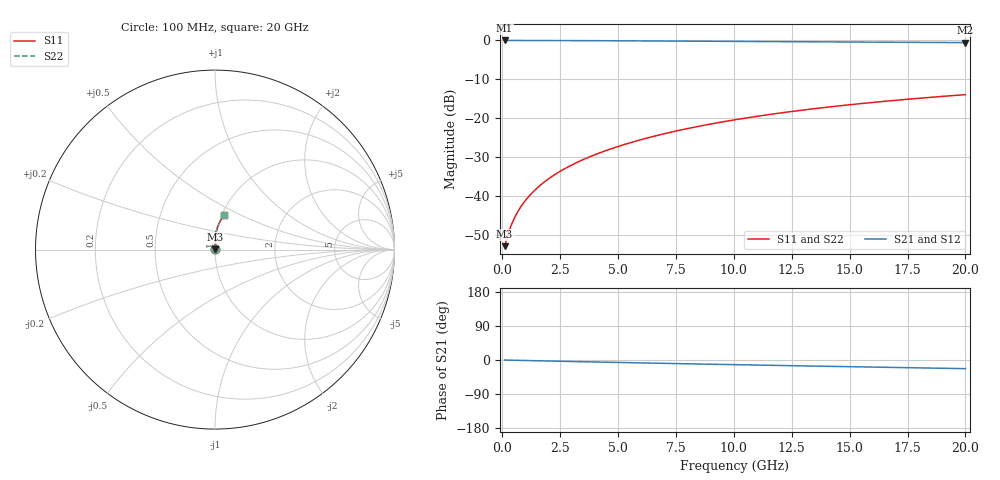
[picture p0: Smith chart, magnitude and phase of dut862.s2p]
! Touchstone file exported from HFSS 2024.1.0
!  File:  C:/UserFiles/LocalFiles/RDL_TSV_Batchsim/temp_RDL_top_862_1779856090.aedt
!  Generated:  12:30:17 PM May 27, 2026
!  Design:  RDL_top
!  Project:  temp_RDL_top_862_1779856090
!  Setup:  Setup1
!  Solution:  Sweep
! Variables:
!  dtsv = 10.80580581um
!  hbump = 3um
!  htsv = 89.07um
!  ldown = 100um
!  lrdl = 331.13um
!  p = 40
!  p1 = 41.98um
!  rhole = 1um
!  t = 450um
!  tdown = 3.915915916um
!  trdl = 2.81um
!  wdown = 15.38538539um
!  wrdl = 23.96um
# GHz S MA R 50.000000
! Terminal data exported
! Port[1] = Box2_T1
! Port[2] = Box2_T2
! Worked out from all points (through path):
!   200 points, 100 MHz to 20 GHz, reference 50 ohm
!   highest |S21| = -0.02 dB at 100 MHz (marker M1); lowest = -0.6 dB at 20 GHz (marker M2)
!   group delay of S21, straight-line fit = 3.14 ps
!   lowest |S11| = -53.0 dB at 100 MHz (marker M3), VSWR 1.00, Z = 50.2 + j0.0969 ohm
!   |S11| at or under -10 dB: start of sweep to end of sweep
!   |S22| runs from -53.0 to -14.0 dB; largest |S21 - S12| = 5.2e-15
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0.1  0.002248 25.4  0.998 -0.1  0.998 -0.1  0.002248 25.4
! Gamma 0 0 0 0
! Port Impedance 50 0 50 0
0.3  0.003546 51.2  0.9977 -0.4  0.9977 -0.4  0.003546 51.2
0.4  0.004277 57.2  0.9976 -0.6  0.9976 -0.6  0.004277 57.2
0.5  0.005008 61.5  0.9975 -0.7  0.9975 -0.7  0.005008 61.5
0.6  0.005739 64.8  0.9973 -0.8  0.9973 -0.8  0.005739 64.8
0.8  0.007211 69.7  0.9971 -1.1  0.9971 -1.1  0.007211 69.7
1  0.008708 73.2  0.9969 -1.4  0.9969 -1.4  0.008708 73.2
1.2  0.01023 75.9  0.9967 -1.6  0.9967 -1.6  0.01023 75.9
1.7  0.01416 80.4  0.996 -2.3  0.996 -2.3  0.01416 80.4
2.2  0.01821 83.2  0.9952 -2.9  0.9952 -2.9  0.01821 83.2
2.8  0.02324 85.4  0.9941 -3.7  0.9941 -3.7  0.02324 85.4
3.5  0.02932 87.0  0.9924 -4.6  0.9924 -4.6  0.02932 87.0
4.2  0.03564 88.0  0.9905 -5.5  0.9905 -5.5  0.03564 88.0
5  0.04313 88.7  0.9881 -6.5  0.9881 -6.5  0.04313 88.7
5.9  0.05188 89.0  0.9852 -7.6  0.9852 -7.6  0.05188 89.0
6.8  0.06093 88.9  0.982 -8.7  0.982 -8.7  0.06092 88.9
8.4  0.07756 88.0  0.9763 -10.5  0.9763 -10.5  0.07755 88.0
10.1  0.09571 86.6  0.9702 -12.4  0.9702 -12.4  0.0957 86.6
11.7  0.113 84.9  0.9645 -14.2  0.9645 -14.2  0.113 84.9
13.4  0.1313 82.9  0.9586 -16.0  0.9586 -16.0  0.1313 82.9
16.7  0.1665 79.0  0.9474 -19.5  0.9474 -19.5  0.1664 78.9
20  0.2004 75.0  0.9364 -22.9  0.9364 -22.9  0.2003 74.9
